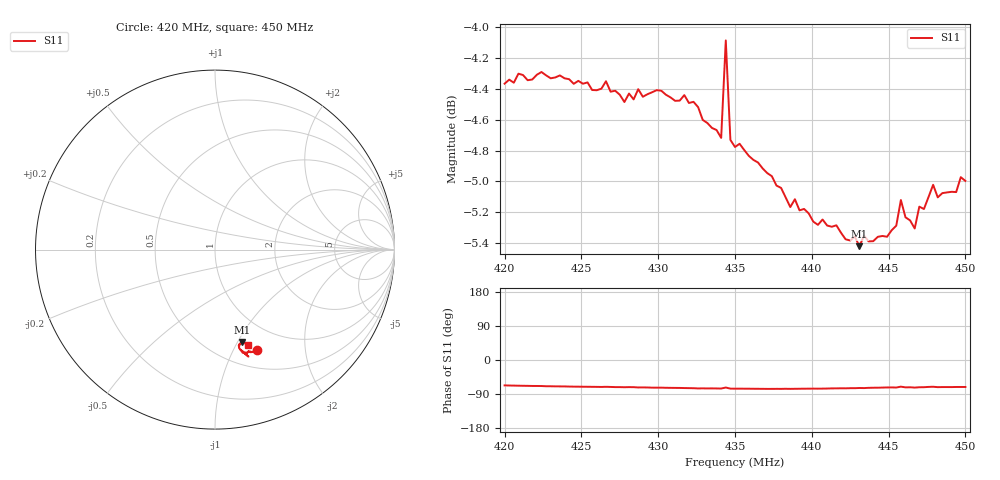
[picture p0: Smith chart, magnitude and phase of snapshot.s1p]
! Extended Nitinol ribbons; coax horizontal across CubeSat top perpendicular to dipole; existing SOL calibration retained
# Hz S RI R 50
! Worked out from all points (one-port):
!   101 points, 420 MHz to 450 MHz, reference 50 ohm
!   lowest |S11| = -5.4 dB at 443.1 MHz (marker M1), VSWR 3.31, Z = 36 - j52 ohm
!   |S11| at or under -10 dB: nowhere
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4.2e8  0.2362 -0.5568
4.209e8  0.2299 -0.5643
4.239e8  0.21 -0.5698
4.263e8  0.1949 -0.5702
4.266e8  0.2 -0.572
4.275e8  0.1899 -0.569
4.287e8  0.1815 -0.5744
4.314e8  0.1674 -0.5733
4.326e8  0.1534 -0.5742
4.341e8  0.1471 -0.562
4.344e8  0.1866 -0.5961
4.347e8  0.1449 -0.5616
4.35e8  0.143 -0.559
4.374e8  0.1345 -0.5483
4.386e8  0.1317 -0.5357
4.389e8  0.1342 -0.5384
4.425e8  0.1449 -0.5182
4.431e8  0.1488 -0.5148
4.434e8  0.148 -0.5194
4.452e8  0.1648 -0.5166
4.455e8  0.162 -0.5194
4.458e8  0.1868 -0.5222
4.461e8  0.1674 -0.5213
4.464e8  0.1689 -0.5195
4.467e8  0.1607 -0.5186
4.479e8  0.1864 -0.5291
4.482e8  0.1752 -0.5273
4.5e8  0.1812 -0.5326
